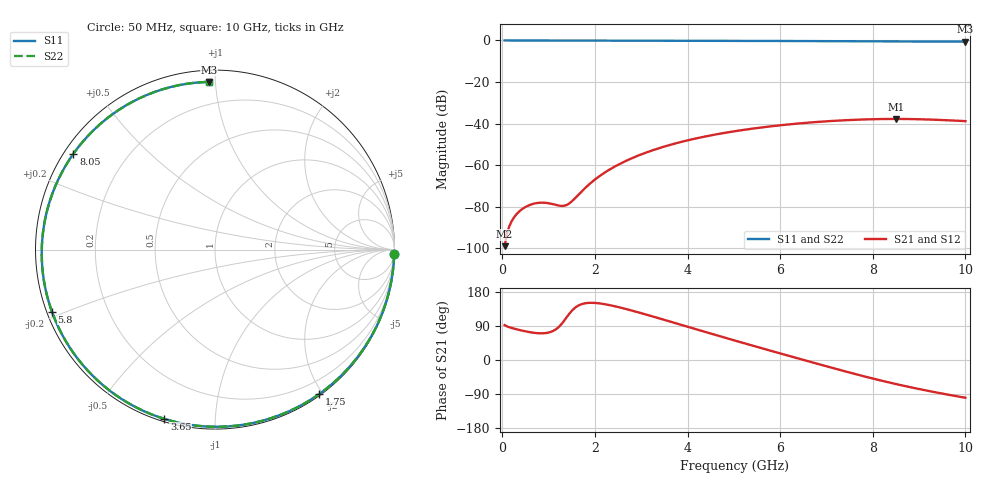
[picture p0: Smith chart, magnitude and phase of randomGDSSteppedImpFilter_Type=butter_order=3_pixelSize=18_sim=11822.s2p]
! freq	dB(S11)	phase(S11)	dB(S12)	phase(S12)
!  dB(S21)	phase(S21)	dB(S22)	phase(S22)
!S-par simulation data
#  GHz  S  DB  R 50
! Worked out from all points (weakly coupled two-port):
!   200 points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, 50 MHz to 10 GHz, reference 50 ohm
!   highest |S21| = -37.73 dB at 8.5 GHz (marker M1); lowest = -98.9 dB at 50 MHz (marker M2)
!   lowest |S11| = -0.6 dB at 10 GHz (marker M3), VSWR 29.74, Z = 3.24 + j48.1 ohm
!   |S11| at or under -10 dB: nowhere
!   |S22| runs from -0.6 to 0.0 dB; largest |S21 - S12| = 0
!   S11 on the Smith chart (normalised r, x): 50 MHz: 2, -74; 1.75 GHz: 0.02, -1.95; 3.65 GHz: 0.01, -0.74; 5.8 GHz: 0.01, -0.18; 8.05 GHz: 0.03, +0.31; 10 GHz: 0.06, +0.96
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0.05  -0.01 -1.5  -98.89 92.2  -98.89 92.2  -0.01 -1.5
0.5  -0.02 -15.9  -80.06 75.6  -80.06 75.6  -0.02 -15.9
0.65  -0.03 -20.6  -78.65 72.3  -78.65 72.3  -0.03 -20.6
0.85  -0.03 -26.9  -77.99 70.4  -77.99 70.4  -0.03 -26.9
1.35  -0.05 -42.3  -79.40 106.1  -79.40 106.1  -0.05 -42.3
1.5  -0.06 -46.8  -77.37 129.7  -77.37 129.7  -0.06 -46.8
1.75  -0.07 -54.3  -71.77 148.6  -71.77 148.6  -0.07 -54.3
2.05  -0.08 -63.0  -66.02 150.1  -66.02 150.1  -0.08 -63.0
2.45  -0.09 -74.4  -60.37 141.3  -60.37 141.3  -0.09 -74.4
2.9  -0.11 -86.9  -55.66 127.0  -55.66 127.0  -0.11 -86.9
3.4  -0.13 -100.2  -51.68 109.5  -51.68 109.5  -0.13 -100.2
3.65  -0.14 -106.7  -50.03 100.5  -50.03 100.5  -0.14 -106.7
4.3  -0.16 -123.1  -46.54 77.0  -46.54 77.0  -0.16 -123.1
5.05  -0.20 -141.3  -43.53 50.3  -43.53 50.3  -0.20 -141.3
5.8  -0.25 -159.2  -41.28 24.2  -41.28 24.2  -0.25 -159.2
6.7  -0.31 179.4  -39.35 -6.5  -39.35 -6.5  -0.31 179.4
7.4  -0.36 162.3  -38.35 -29.9  -38.35 -29.9  -0.36 162.3
8.05  -0.42 145.9  -37.84 -50.4  -37.84 -50.4  -0.42 145.9
8.35  -0.45 138.1  -37.74 -59.2  -37.74 -59.2  -0.45 138.1
8.5  -0.46 134.2  -37.73 -63.5  -37.73 -63.5  -0.46 134.2
9.3  -0.53 112.3  -38.08 -84.0  -38.08 -84.0  -0.53 112.3
10  -0.58 92.1  -38.79 -99.6  -38.79 -99.6  -0.58 92.1
